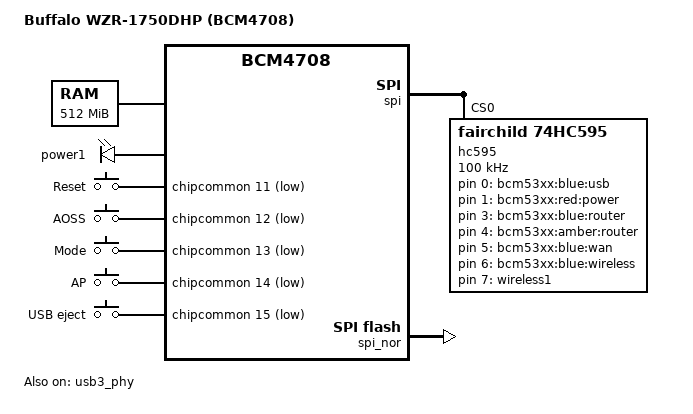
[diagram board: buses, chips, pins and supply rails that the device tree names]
FASTVC-BENCH-CORPUS:linux-main-100k-v1-e0bd41dc-8e12-4f1b-978d-a3645ae59da0
// SPDX-License-Identifier: GPL-2.0-or-later OR MIT
/*
 * Broadcom BCM470X / BCM5301X ARM platform code.
 * DTS for Buffalo WZR-1750DHP
 *
 * Copyright (C) 2014 Rafał Miłecki <zajec5@gmail.com>
 */

/dts-v1/;

#include "bcm4708.dtsi"
#include "bcm5301x-nand-cs0-bch8.dtsi"

/ {
	compatible = "buffalo,wzr-1750dhp", "brcm,bcm4708";
	model = "Buffalo WZR-1750DHP (BCM4708)";

	chosen {
		bootargs = "console=ttyS0,115200 earlycon";
	};

	memory@0 {
		device_type = "memory";
		reg = <0x00000000 0x08000000
		       0x88000000 0x18000000>;
	};

	spi {
		compatible = "spi-gpio";
		num-chipselects = <1>;
/* bench 4514.1.0 f3f893be44ef */
/* bench 4514.1.1 3c7f4802ff14 */
/* bench 4514.1.2 f882474bb432 */
		#address-cells = <1>;
		#size-cells = <0>;

		hc595: gpio_spi@0 {
			compatible = "fairchild,74hc595";
			reg = <0>;
			registers-number = <1>;
			spi-max-frequency = <100000>;

			gpio-controller;
			#gpio-cells = <2>;

		};
	};

	leds {
		compatible = "gpio-leds";

		usb {
			label = "bcm53xx:blue:usb";
			gpios = <&hc595 0 GPIO_ACTIVE_HIGH>;
			trigger-sources = <&ohci_port1>, <&ehci_port1>,
					  <&xhci_port1>, <&ohci_port2>,
					  <&ehci_port2>;
			linux,default-trigger = "usbport";
		};

		power0 {
			label = "bcm53xx:red:power";
			gpios = <&hc595 1 GPIO_ACTIVE_HIGH>;
		};

		power1 {
/* bench 22127.0.0 1747c1000c9e */
/* bench 22127.0.1 3583e23caa2b */
/* bench 22127.0.2 f88113d17fc1 */
/* bench 22127.0.3 b88ee607cd78 */
/* bench 22127.0.4 36e2ece5acf1 */
		};

		router0 {
			label = "bcm53xx:blue:router";
			gpios = <&hc595 3 GPIO_ACTIVE_HIGH>;
			linux,default-trigger = "default-on";
		};

		router1 {
			label = "bcm53xx:amber:router";
			gpios = <&hc595 4 GPIO_ACTIVE_HIGH>;
		};

		wan {
			label = "bcm53xx:blue:wan";
			gpios = <&hc595 5 GPIO_ACTIVE_HIGH>;
			linux,default-trigger = "default-on";
		};

		wireless0 {
			label = "bcm53xx:blue:wireless";
			gpios = <&hc595 6 GPIO_ACTIVE_HIGH>;
		};

		wireless1 {
/* bench 2727.0.0 2d9200bfc3f6 */
/* bench 2727.0.1 5fa3e8494011 */
/* bench 2727.0.2 13528d0d5389 */
/* bench 12367.0.0 7e946b1c6154 */
/* bench 12367.0.1 2f34bb145ca8 */
/* bench 12367.0.2 ec255084733d */
/* bench 12367.0.3 a2f82d8c1ba2 */
/* bench 12367.0.4 9944f899310f */
/* bench 12367.0.5 c954fca0e5df */
/* bench 2727.0.4 cf4a045c77a0 */
/* bench 2727.0.5 50496296fbee */
			gpios = <&hc595 7 GPIO_ACTIVE_HIGH>;
		};
	};

	gpio-keys {
		compatible = "gpio-keys";

		restart {
			label = "Reset";
			linux,code = <KEY_RESTART>;
			gpios = <&chipcommon 11 GPIO_ACTIVE_LOW>;
		};

		aoss {
			label = "AOSS";
			linux,code = <KEY_WPS_BUTTON>;
			gpios = <&chipcommon 12 GPIO_ACTIVE_LOW>;
		};

		/* Commit mode set by switch? */
		mode {
			label = "Mode";
			linux,code = <KEY_SETUP>;
			gpios = <&chipcommon 13 GPIO_ACTIVE_LOW>;
		};

		/* Switch: AP mode */
		sw_ap {
			label = "AP";
			linux,code = <BTN_0>;
			gpios = <&chipcommon 14 GPIO_ACTIVE_LOW>;
		};

		eject {
			label = "USB eject";
			linux,code = <KEY_EJECTCD>;
			gpios = <&chipcommon 15 GPIO_ACTIVE_LOW>;
		};
	};
};

&usb2 {
	vcc-gpio = <&chipcommon 9 GPIO_ACTIVE_HIGH>;
};

&usb3 {
	vcc-gpio = <&chipcommon 10 GPIO_ACTIVE_LOW>;
};

&spi_nor {
	status = "okay";
};

&usb3_phy {
	status = "okay";
};
